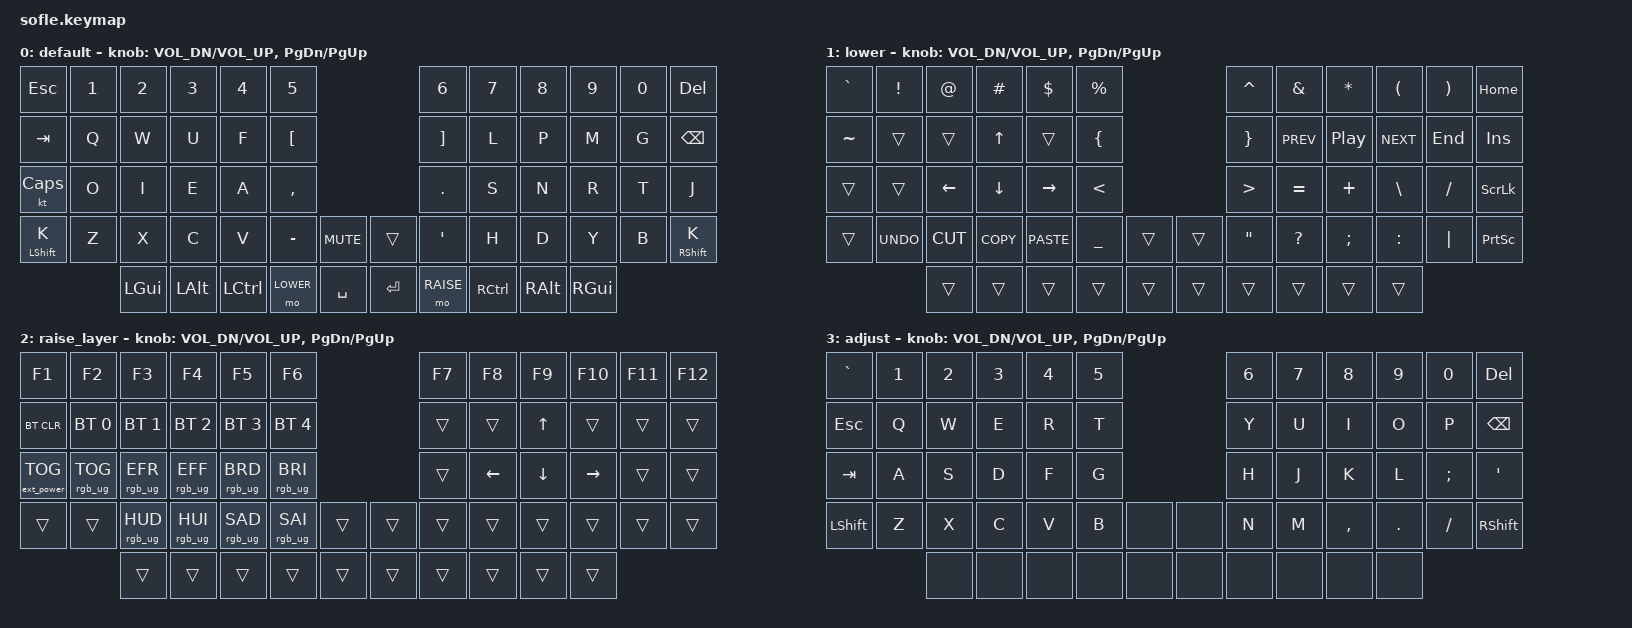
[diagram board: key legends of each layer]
/*
 * Copyright (c) 2020 The ZMK Contributors
 *
 * SPDX-License-Identifier: MIT
 */

#include <behaviors.dtsi>
#include <dt-bindings/zmk/keys.h>
#include <dt-bindings/zmk/bt.h>
#include <dt-bindings/zmk/rgb.h>
#include <dt-bindings/zmk/ext_power.h>

#define BASE 0
#define LOWER 1
#define RAISE 2
#define ADJUST 3

/ {

   // Activate ADJUST layer by pressing raise and lower
    conditional_layers {
        compatible = "zmk,conditional-layers";
        adjust_layer {
            if-layers = <LOWER RAISE>;
            then-layer = <ADJUST>;
        };
    };

    keymap {
        compatible = "zmk,keymap";

        default_layer {
            display-name = "default";
// --------------------------------------------------------------------------------------------------------------
// |   ESC   |  1  |  2  |  3   |  4   |  5   |                   |  6   |  7    |  8    |  9   |   0   |   DEL   |
// |   TAB   |  Q  |  W  |  U   |  F   |  [   |                   |  ]   |  L    |  P    |  M   |   G   |  BKSPC  |
// |   CAPS  |  O  |  I  |  E   |  A   |  ,   |                   |  .   |  S    |  N    |  R   |   T   |    J    |
// | SHIFT/K |  Z  |  X  |  C   |  V   |  -   |  MUTE  |  |       |  '   |  H    |  D    |  Y   |   B   | SHIFT/K |
//                 | GUI | ALT  | CTRL | LOWER|  SPACE |  | ENTER | RAISE| CTRL  | ALT   | GUI  |
            bindings = <
&kp ESC      &kp N1 &kp N2   &kp N3   &kp N4    &kp N5                           &kp N6     &kp N7    &kp N8    &kp N9   &kp N0   &kp DEL
&kp TAB      &kp Q  &kp W    &kp U    &kp F     &kp LBKT                         &kp RBKT   &kp L     &kp P     &kp M    &kp G    &kp BSPC
&kt CLCK     &kp O  &kp I    &kp E    &kp A     &kp COMMA                        &kp DOT    &kp S     &kp N     &kp R    &kp T    &kp J
&mt LSHIFT K &kp Z  &kp X    &kp C    &kp V     &kp MINUS  &kp C_MUTE &trans     &kp SQT    &kp H     &kp D     &kp Y    &kp B    &mt RSHIFT K
                    &kp LGUI &kp LALT &kp LCTRL &mo LOWER  &kp SPACE  &kp RET    &mo RAISE  &kp RCTRL &kp RALT  &kp RGUI
            >;

            sensor-bindings = <&inc_dec_kp C_VOL_DN C_VOL_UP &inc_dec_kp PG_DN PG_UP>;
        };

        lower_layer {
            display-name = "lower";
// TODO: Some binds are waiting for shifted keycode support.
// -------------------------------------------------------------------------------------------------------------
// |   `   |  !   |  @  |  #   |   $   |  %   |                   |  ^   |   &   |   *   |  (   |   )   | HOME |
// |   ~   |      |     |  ^   |       |  {   |                   |  }   | PRVS  | PLAY  | NEXT |  END  | INS  |
// |       |      | <-  |  v   |   ->  |  <   |                   |  >   |   =   |   +   |  /   |   \   | SCRL |
// |       | UNDO | CUT | COPY | PASTE |  _   |        |  |       |  "   |   ?   |   ;   |  :   |   |   | PSCR |
//                |     |      |       |      |        |  |       |      |       |       |      |
            bindings = <
&kp GRAVE   &kp EXCL    &kp AT    &kp HASH    &kp DLLR      &kp PRCNT                   &kp CARET   &kp AMPS     &kp ASTRK &kp LPAR      &kp RPAR    &kp HOME 
&kp TILDE   &trans      &trans    &kp UP      &trans        &kp LBRC                    &kp RBRC    &kp C_PREV   &kp C_PP  &kp C_NEXT    &kp END     &kp INS
&trans      &trans      &kp LEFT  &kp DOWN    &kp RIGHT     &kp LT                      &kp GT      &kp EQUAL    &kp PLUS  &kp BSLH      &kp FSLH    &kp SLCK 
&trans      &kp K_UNDO  &kp K_CUT &kp K_COPY  &kp K_PASTE   &kp UNDER   &trans &trans   &kp DQT     &kp QMARK    &kp SEMI  &kp COLON     &kp PIPE    &kp PSCRN 
                        &trans    &trans      &trans        &trans      &trans &trans   &trans      &trans       &trans    &trans
            >;

            sensor-bindings = <&inc_dec_kp C_VOL_DN C_VOL_UP &inc_dec_kp PG_DN PG_UP>;
        };

        raise_layer {
// -------------------------------------------------------------------------------------------------------------
// |   F1   |  F2  |  F3  |  F4   |  F5   |  F6  |                |  F7  |  F8  |  F9   |  F10 |  F11  |  F12  |
// |  BTCLR | BT1  | BT2  |  BT3  |  BT4  |  BT5 |                |      |      |   ^   |      |       |       |
// | EXTPWR | RGBT | RGB- | RGB+  |  BR-  |  BR+ |                |      |   <- |   v   | ->   |       |       |
// |        |      | HUD  | HUI   |  SAD  |  SAI |      |  |      |      |      |       |      |       |       |
//                 |      |       |       |      |      |  |      |      |      |       |      |
            bindings = <
&kp F1              &kp F2          &kp F3          &kp F4          &kp F5          &kp F6                              &kp F7      &kp F8      &kp F9      &kp F10     &kp F11  &kp F12
&bt BT_CLR          &bt BT_SEL 0    &bt BT_SEL 1    &bt BT_SEL 2    &bt BT_SEL 3    &bt BT_SEL 4                        &trans      &trans      &kp UP      &trans      &trans   &trans
&ext_power EP_TOG   &rgb_ug RGB_TOG &rgb_ug RGB_EFR &rgb_ug RGB_EFF &rgb_ug RGB_BRD &rgb_ug RGB_BRI                     &trans      &kp LEFT    &kp DOWN    &kp RIGHT   &trans   &trans
&trans              &trans          &rgb_ug RGB_HUD &rgb_ug RGB_HUI &rgb_ug RGB_SAD &rgb_ug RGB_SAI     &trans  &trans  &trans      &trans      &trans      &trans      &trans   &trans
                                    &trans          &trans          &trans          &trans              &trans  &trans  &trans      &trans      &trans      &trans
            >;

            sensor-bindings = <&inc_dec_kp C_VOL_DN C_VOL_UP &inc_dec_kp PG_DN PG_UP>;
        };


        adjust_layer {
            display-name = "adjust";
// ------------------------------------------------------------------------------------------------------------
// |   `   |  1  |  2  |  3   |  4   |  5   |                   |  6   |  7    |  8    |  9   |   0   |  DEL  |
// |  ESC  |  Q  |  W  |  E   |  R   |  T   |                   |  Y   |  U    |  I    |  O   |   P   | BKSPC |
// |  TAB  |  A  |  S  |  D   |  F   |  G   |                   |  H   |  J    |  K    |  L   |   ;   |   '   |
// | SHIFT |  Z  |  X  |  C   |  V   |  B   |        |  |       |  N   |  M    |  ,    |  .   |   /   | SHIFT |
//               |     |      |      |      |        |  |       |      |       |       |      |
            bindings = <
&kp GRAVE &kp N1 &kp N2   &kp N3   &kp N4    &kp N5                           &kp N6 &kp N7    &kp N8    &kp N9   &kp N0   &kp DEL
&kp ESC   &kp Q  &kp W    &kp E    &kp R     &kp T                            &kp Y  &kp U     &kp I     &kp O    &kp P    &kp BSPC
&kp TAB   &kp A  &kp S    &kp D    &kp F     &kp G                            &kp H  &kp J     &kp K     &kp L    &kp SEMI &kp SQT
&kp LSHFT &kp Z  &kp X    &kp C    &kp V     &kp B      &none &none           &kp N  &kp M     &kp COMMA &kp DOT  &kp FSLH &kp RSHFT
                 &none    &none    &none     &none      &none &none           &none  &none     &none     &none
            >;

            sensor-bindings = <&inc_dec_kp C_VOL_DN C_VOL_UP &inc_dec_kp PG_DN PG_UP>;
        };

    };
};
